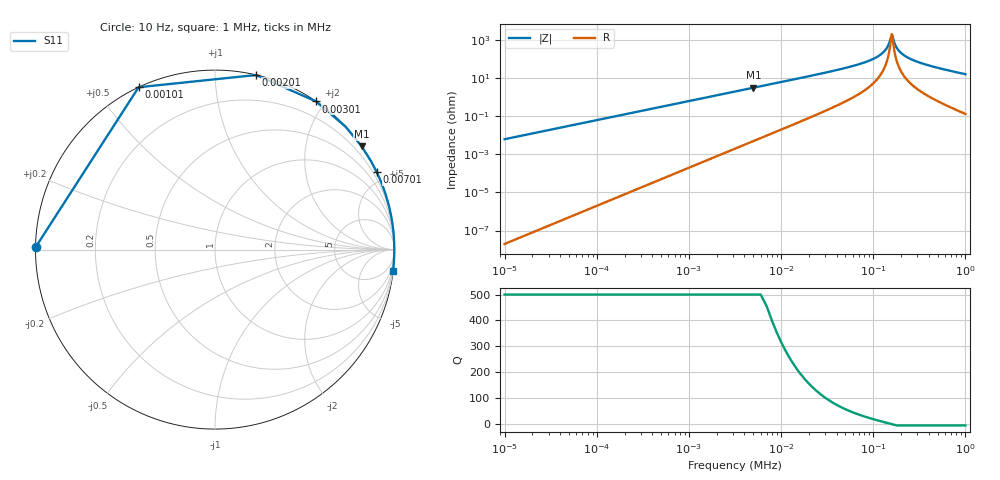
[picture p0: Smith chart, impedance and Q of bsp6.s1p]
! AWR Design Environment (7670) Wed Feb 10 15:01:30 2016
! Document = 'bsp6'
! nPorts: 1, nXvals: 1001
# HZ Z RI R 1
!Freq ReZ11 ImZ11
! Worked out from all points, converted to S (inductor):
!   1001 points, 10 Hz to 1 MHz, reference 1 ohm
!   read as one part to ground: L = 100 uH near 5.01 kHz
!   highest Q = 635 at 5.01 kHz (marker M1), where L = 100 uH
!   self-resonance near 159 kHz
!   S11 on the Smith chart (normalised r, x): 10 Hz: 0.00, +0.01; 1.01 kHz: 0.00, +0.63; 2.01 kHz: 0.00, +1.26; 3.01 kHz: 0.00, +1.89; 7.01 kHz: 0.01, +4.41; 1 MHz: 0, -16
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10  1.97e-08 0.00628
1010  0.000201 0.6346
2010  0.000798 1.263
3010  0.00179 1.892
5010  0.00496 3.151
6010  0.00715 3.782
7010  0.00974 4.413
8010  0.0127 5.046
9010  0.0161 5.679
10010  0.0199 6.314
11010  0.0242 6.951
12010  0.0288 7.589
14010  0.0394 8.871
17010  0.0584 10.81
20010  0.0816 12.77
24010  0.1191 15.44
28010  0.1649 18.16
41010  0.3808 27.59
59010  0.9235 42.97
86010  2.909 76.22
125010  20.8 202.9
250010  5.712 -106.7
375010  1.339 -51.73
500010  0.6271 -35.41
625010  0.3707 -27.23
750010  0.2469 -22.22
875010  0.1769 -18.81
1000000  0.1333 -16.33
